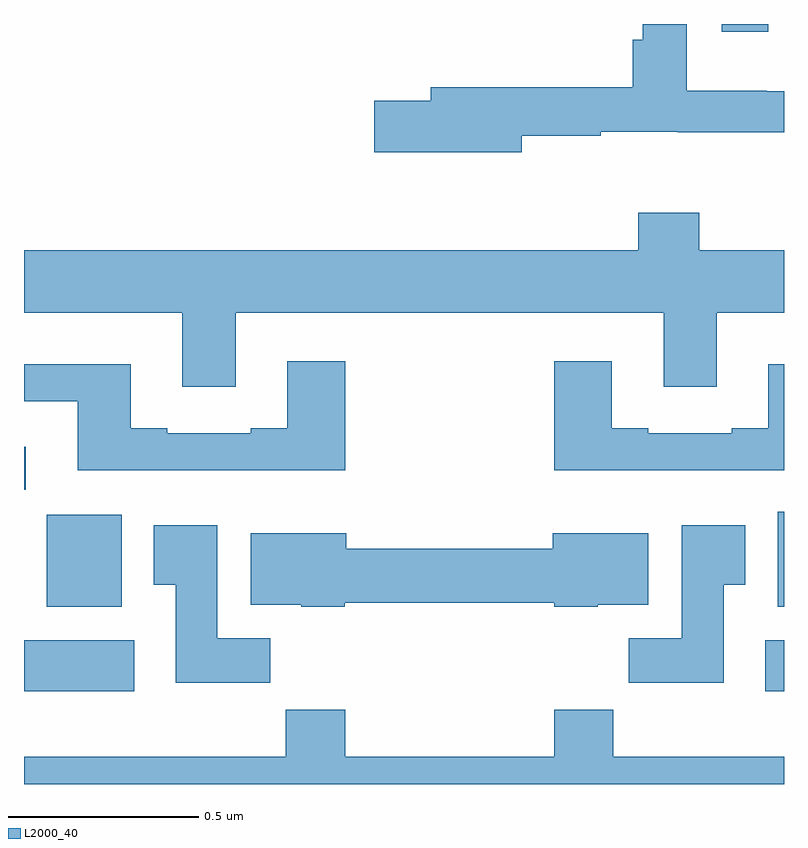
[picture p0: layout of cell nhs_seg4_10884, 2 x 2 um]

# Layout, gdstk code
import gdstk
lib = gdstk.Library(unit=1e-6, precision=1e-09)
def R(c, l, rs):  # rectangles x0, y0, x1, y1
    for r in rs: c.add(gdstk.rectangle(r[:2], r[2:], *l))
def P(c, l, *ps):  # polygons
    for p in ps: c.add(gdstk.Polygon(p, *l))
L2000_40 = (2000, 40)

nhs_seg4_10884 = lib.new_cell('nhs_seg4_10884')
R(nhs_seg4_10884, L2000_40, [(245,809.144,245.29,809.278), (246.951,809.144,247,809.278), (245.06,809.366,245.257,809.608), (246.983,809.366,247,809.617), (245,809.675,245.005,809.788), (246.836,810.879,246.958,810.9)])
P(nhs_seg4_10884, L2000_40, [(246.31,810.606),(246.518,810.606),(246.518,810.617),(246.72,810.617),(246.72,810.615),(247,810.615),(247,810.723),(246.954,810.723),(246.954,810.724),(246.744,810.724),(246.744,810.9),(246.628,810.9),(246.628,810.859),(246.602,810.859),(246.602,810.734),(246.071,810.734),(246.071,810.698),(245.922,810.698),(245.922,810.563),(246.31,810.563)],
  [(245.557,810.14),(246.683,810.14),(246.683,809.946),(246.823,809.946),(246.823,810.14),(247,810.14),(247,810.304),(246.777,810.304),(246.777,810.403),(246.617,810.403),(246.617,810.304),(245,810.304),(245,810.14),(245.417,810.14),(245.417,809.946),(245.557,809.946)],
  [(247,810.004),(246.959,810.004),(246.959,809.836),(246.863,809.836),(246.863,809.823),(246.643,809.823),(246.643,809.836),(246.547,809.836),(246.547,810.013),(246.395,810.013),(246.395,809.726),(247,809.726)],
  [(245.846,810.013),(245.693,810.013),(245.693,809.836),(245.597,809.836),(245.597,809.823),(245.377,809.823),(245.377,809.836),(245.281,809.836),(245.281,810.004),(245,810.004),(245,809.907),(245.141,809.907),(245.141,809.726),(245.846,809.726)],
  [(245.648,809.284),(245.509,809.284),(245.509,809.581),(245.342,809.581),(245.342,809.425),(245.399,809.425),(245.399,809.166),(245.648,809.166)],
  [(246.841,809.425),(246.898,809.425),(246.898,809.581),(246.731,809.581),(246.731,809.284),(246.592,809.284),(246.592,809.166),(246.841,809.166)],
  [(245.844,809.377),(246.396,809.377),(246.396,809.366),(246.51,809.366),(246.51,809.372),(246.643,809.372),(246.643,809.56),(246.392,809.56),(246.392,809.519),(245.848,809.519),(245.848,809.56),(245.597,809.56),(245.597,809.372),(245.73,809.372),(245.73,809.366),(245.844,809.366)],
  [(247,808.972),(246.551,808.972),(246.551,809.096),(246.395,809.096),(246.395,808.972),(245.846,808.972),(245.846,809.096),(245.689,809.096),(245.689,808.972),(245,808.972),(245,808.9),(247,808.9)])

lib.write_gds('nhs_seg4_10884.gds')
